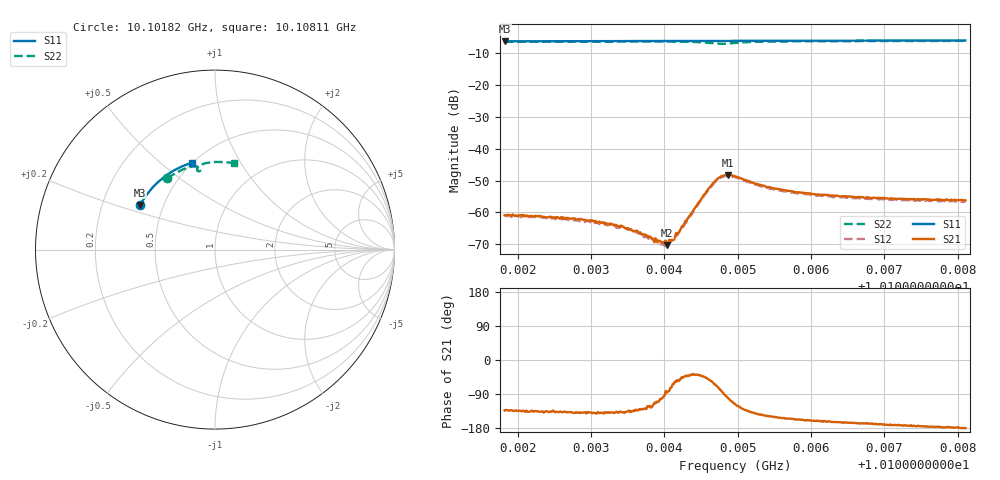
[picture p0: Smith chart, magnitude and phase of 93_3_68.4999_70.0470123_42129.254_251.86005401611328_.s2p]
#  HZ  S  RI  R  50.00
! Rohde & Schwarz Vector Network Analyzer
! Rohde-Schwarz,ZNB20-2Port,1311601062101988,3.16
! Created: UTC 3/20/2024, 5:07:53 PM
! freq[Hz]  re:S11  im:S11  re:S21  im:S21  re:S12  im:S12  re:S22  im:S22
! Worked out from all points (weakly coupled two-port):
!   401 points, 10.10182 GHz to 10.10811 GHz, reference 50 ohm
!   highest |S21| = -48.21 dB at 10.10487 GHz (marker M1); lowest = -70.2 dB at 10.10404 GHz (marker M2)
!   lowest |S11| = -6.3 dB at 10.10182 GHz (marker M3), VSWR 2.88, Z = 18.5 + j12 ohm
!   |S11| at or under -10 dB: nowhere
!   |S22| runs from -7.0 to -6.2 dB; largest |S21 - S12| = 0.0004
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1.0101821e10  -0.4158 0.2483  -0.000615 -0.000658  -0.000542 -0.000705  -0.2651 0.3961
1.010234e10  -0.4002 0.2758  -0.000608 -0.000595  -0.000542 -0.000632  -0.2374 0.4152
1.0102874e10  -0.3821 0.3028  -0.000585 -0.000513  -0.000493 -0.000537  -0.2068 0.4327
1.0103282e10  -0.3672 0.3226  -0.00049 -0.000434  -0.000451 -0.00045  -0.1822 0.4446
1.0103345e10  -0.3649 0.3255  -0.00046 -0.000443  -0.000413 -0.0004  -0.1782 0.4463
1.0103502e10  -0.3587 0.333  -0.000405 -0.000404  -0.000369 -0.000386  -0.1683 0.4506
1.0103659e10  -0.3524 0.3402  -0.000297 -0.000363  -0.000303 -0.00038  -0.158 0.4542
1.0103927e10  -0.3415 0.3522  -0.000117 -0.000343  -6.18e-05 -0.00032  -0.1396 0.4599
1.0103974e10  -0.3396 0.3543  -5.92e-05 -0.000334  -4.49e-05 -0.000311  -0.136 0.4609
1.0104037e10  -0.337 0.357  2.24e-05 -0.000308  5.11e-05 -0.000332  -0.1313 0.4619
1.0104068e10  -0.3357 0.3583  5.83e-05 -0.000373  0.000117 -0.000315  -0.129 0.4623
1.0104162e10  -0.3316 0.3625  0.000256 -0.000405  0.000252 -0.000353  -0.1214 0.4636
1.0104524e10  -0.3156 0.3776  0.00129 -0.0012  0.00135 -0.00103  -0.0892 0.458
1.0104649e10  -0.3099 0.3825  0.00149 -0.0023  0.00162 -0.00208  -0.0817 0.4473
1.0104759e10  -0.3051 0.3867  0.000752 -0.00351  0.00102 -0.0033  -0.0855 0.4367
1.0104869e10  -0.3 0.3911  -0.000721 -0.00382  -0.00037 -0.00373  -0.0961 0.4378
1.0104963e10  -0.2958 0.3947  -0.00165 -0.00332  -0.0013 -0.00334  -0.0995 0.4467
1.0105419e10  -0.2739 0.4117  -0.00212 -0.00133  -0.00194 -0.00148  -0.072 0.4748
1.0105702e10  -0.2599 0.4217  -0.00198 -0.000945  -0.00179 -0.00104  -0.0516 0.4811
1.0106016e10  -0.2439 0.4318  -0.00184 -0.00068  -0.00169 -0.000802  -0.0296 0.4852
1.0107069e10  -0.1876 0.4617  -0.00163 -0.000232  -0.00151 -0.000408  0.0402 0.4881
1.0108105e10  -0.129 0.4835  -0.00155 -3.17e-06  -0.00149 -0.000155  0.1066 0.4807
